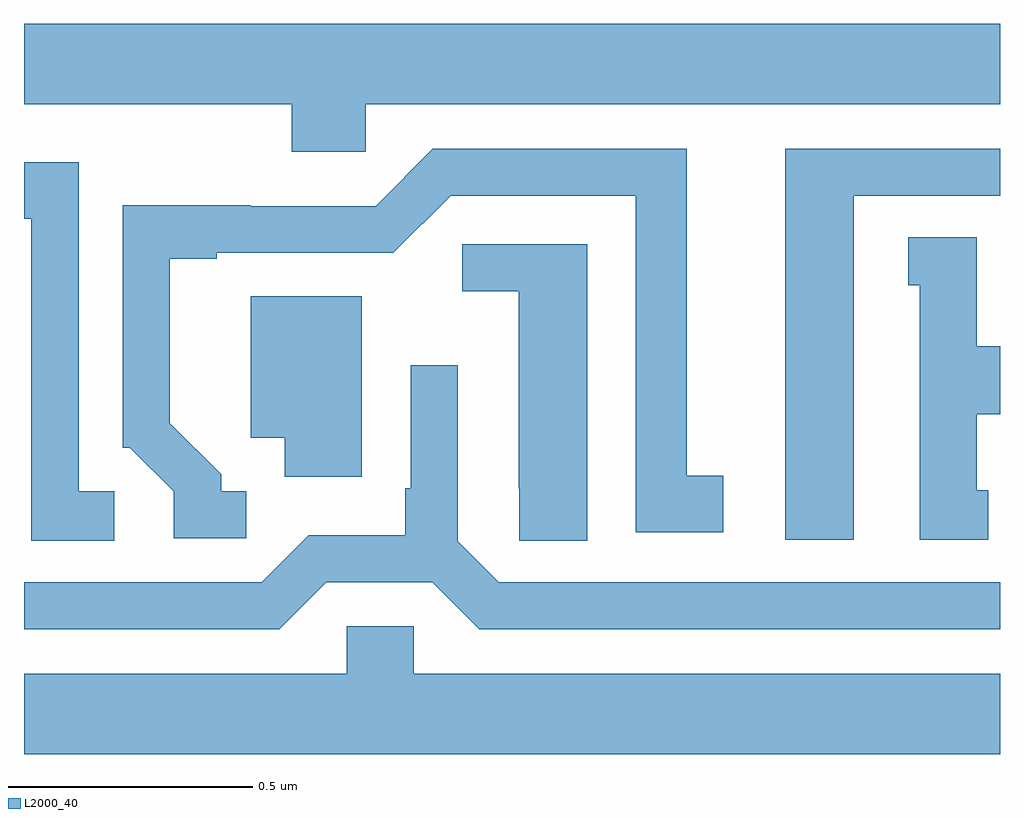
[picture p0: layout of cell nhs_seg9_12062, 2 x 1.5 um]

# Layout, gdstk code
import gdstk
lib = gdstk.Library(unit=1e-6, precision=1e-09)
def P(c, l, *ps):  # polygons
    for p in ps: c.add(gdstk.Polygon(p, *l))
L2000_40 = (2000, 40)

nhs_seg9_12062 = lib.new_cell('nhs_seg9_12062')
P(nhs_seg9_12062, L2000_40, [(263.7,1239.044),(265,1239.044),(265,1239.208),(263,1239.208),(263,1239.044),(263.549,1239.044),(263.549,1238.946),(263.7,1238.946)],
  [(264.7,1238.856),(265,1238.856),(265,1238.952),(264.56,1238.952),(264.56,1238.151),(264.7,1238.151)],
  [(263.455,1238.25),(263.404,1238.25),(263.404,1238.285),(263.299,1238.39),(263.299,1238.727),(263.395,1238.727),(263.395,1238.739),(263.757,1238.739),(263.874,1238.856),(264.254,1238.856),(264.254,1238.166),(264.433,1238.166),(264.433,1238.282),(264.358,1238.282),(264.358,1238.952),(263.838,1238.952),(263.721,1238.835),(263.465,1238.835),(263.465,1238.837),(263.202,1238.837),(263.202,1238.34),(263.217,1238.34),(263.307,1238.25),(263.307,1238.154),(263.455,1238.154)],
  [(263.185,1238.25),(263.112,1238.25),(263.112,1238.925),(263,1238.925),(263,1238.809),(263.015,1238.809),(263.015,1238.149),(263.185,1238.149)],
  [(264.976,1238.253),(264.952,1238.253),(264.952,1238.408),(265,1238.408),(265,1238.548),(264.952,1238.548),(264.952,1238.771),(264.812,1238.771),(264.812,1238.673),(264.836,1238.673),(264.836,1238.151),(264.976,1238.151)],
  [(264.154,1238.757),(263.898,1238.757),(263.898,1238.66),(264.014,1238.66),(264.014,1238.257),(264.015,1238.257),(264.015,1238.149),(264.154,1238.149)],
  [(263.692,1238.65),(263.465,1238.65),(263.465,1238.36),(263.534,1238.36),(263.534,1238.28),(263.692,1238.28)],
  [(263.619,1238.064),(263.837,1238.064),(263.933,1237.968),(265,1237.968),(265,1238.064),(263.973,1238.064),(263.889,1238.148),(263.889,1238.509),(263.793,1238.509),(263.793,1238.257),(263.781,1238.257),(263.781,1238.16),(263.583,1238.16),(263.487,1238.064),(263,1238.064),(263,1237.968),(263.523,1237.968)],
  [(265,1237.876),(263.799,1237.876),(263.799,1237.974),(263.661,1237.974),(263.661,1237.876),(263,1237.876),(263,1237.712),(265,1237.712)])

lib.write_gds('nhs_seg9_12062.gds')
